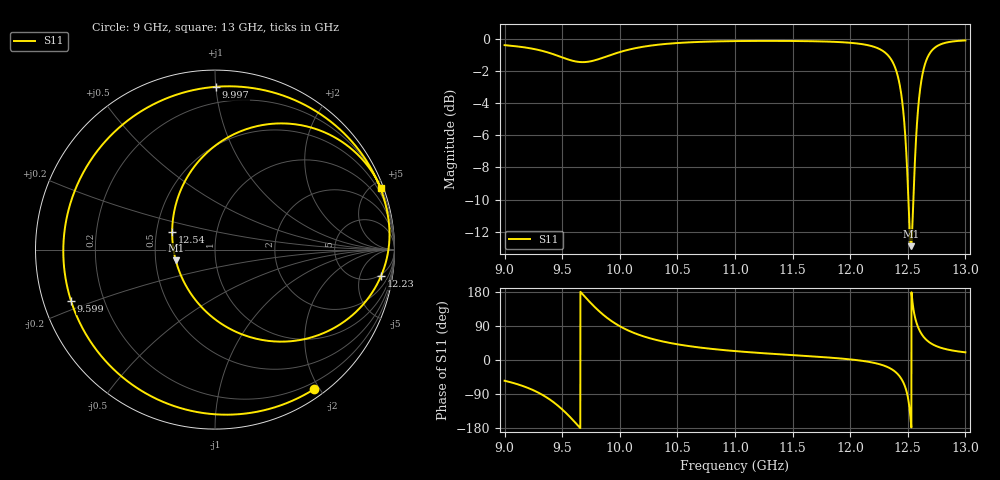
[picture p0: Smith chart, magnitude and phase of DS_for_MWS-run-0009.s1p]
! TOUCHSTONE file generated by CST DESIGN STUDIO
! Date and time: Tue Feb  4 13:25:52 2025
! Project name: C:\Work\MatlabApps\UnitCellOptimizationMatlab\CST\unitcell.cst
! Tree item: Tasks\Sweep1\SPara1\S-Parameters
! Header version: 2024
! Port assignment regex: !\s*Touchstone port\s*([0-9]+)\s*=\s*(CST MWS port|CST DES external port|CST DES block port)\s*(.+)\s* \(\"(.*)\"\)(\s*mode\s*([0-9]+))?.*
! Touchstone port assignment:
! Touchstone port 1 = CST DES external port 1 ("")
# GHz S MA R 50
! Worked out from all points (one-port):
!   4001 points, 9 GHz to 13 GHz, reference 50 ohm
!   lowest |S11| = -12.9 dB at 12.53 GHz (marker M1), VSWR 1.59, Z = 31.9 - j4.05 ohm
!   |S11| at or under -10 dB: 12.50545 GHz to 12.54842 GHz (42.97 MHz wide, 0.343 % of centre)
!   S11 on the Smith chart (normalised r, x): 9 GHz: 0.11, -1.93; 9.599 GHz: 0.08, -0.17; 9.997 GHz: 0.10, +1.00; 12.23 GHz: 4, -11; 12.54 GHz: 0.60, +0.13; 13 GHz: 0.22, +5.60
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9  0.9539 -54.7
9.169  0.9391 -69.8
9.321  0.9167 -90.8
9.416  0.8957 -109.4
9.5  0.8739 -130.4
9.599  0.8515 -160.4
9.698  0.8451 166.6
9.81  0.8615 131.8
9.897  0.8829 109.6
9.997  0.9071 89.7
10  0.9078 89.2
10.219  0.945 61.1
10.5  0.9684 41.5
11  0.9819 23.5
11.5  0.9826 12.9
12  0.97 1.6
12.23  0.9361 -9.2
12.327  0.8878 -19.0
12.394  0.8054 -31.8
12.459  0.6035 -57.9
12.5  0.353 -97.3
12.527  0.2267 -164.6
12.539  0.2582 157.6
12.583  0.5661 91.6
12.629  0.7791 64.3
12.683  0.8903 47.6
12.753  0.9467 35.9
13  0.9863 20.2
